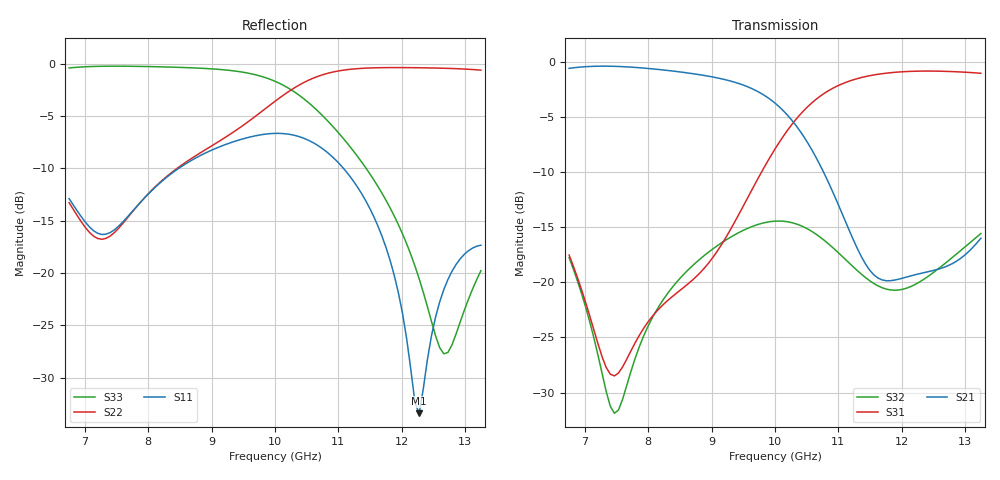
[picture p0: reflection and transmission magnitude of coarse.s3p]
! yapnr rf: diplexer-x8x12, binary design on the optimization grid
! spec sha256 ef2c169852b7fa958bd1cfd29e224f501703003c4a9cb40ad4b62f1f70cdd8ac
! renormalized to 50 ohm, e^(+jwt) convention
# GHz S RI R 50
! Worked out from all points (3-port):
!   101 points, 6.75 GHz to 13.25 GHz, reference 50 ohm
!   strongest paths, dB at 6.75 GHz, 8.375 GHz, 10 GHz, 11.62 GHz, 13.25 GHz:
!     S21: -0.6, -0.8, -3.7, -19.6, -16.0
!     S31: -17.5, -21.3, -7.9, -1.1, -1.0
!     S32: -17.8, -20.5, -14.4, -20.3, -15.6
!   lowest |S11| = -33.4 dB at 12.28 GHz (marker M1), VSWR 1.04, Z = 48.4 - j1.39 ohm
!   |S11| at or under -10 dB: start of sweep to 8.48 GHz; 11.08 GHz to end of sweep
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6.75  0.2101 -0.0855  -0.3857 0.8517  0.1181 0.0641
      -0.3859 0.8535  0.0449 0.2122  -0.0379 -0.1178
      0.12 0.0575  -0.0366 -0.1242  0.7895 -0.5354
7.465  0.161 -0.00175  0.247 0.9234  0.0194 0.042
       0.2494 0.9235  0.1342 -0.0798  -0.0143 0.0237
       0.0146 0.0347  -0.0156 0.0201  0.3713 -0.8991
8.57  0.2791 -0.1754  0.8665 0.2401  -0.0127 0.0913
      0.8651 0.2359  -0.1494 -0.2998  0.0982 -0.0399
      -0.0232 0.0926  0.1001 -0.0446  -0.3314 -0.899
9.415  -0.0715 -0.4245  0.6671 -0.4547  -0.0507 0.18
       0.6613 -0.4532  -0.3954 -0.2855  0.00808 -0.1567
       -0.0595 0.1911  0.00408 -0.1674  -0.7333 -0.5523
10  -0.4442 -0.1362  0.1769 -0.6333  0.0336 0.3827
    0.1768 -0.6269  -0.63 -0.2003  -0.134 -0.1136
    0.0345 0.4016  -0.1475 -0.1192  -0.8087 -0.1576
10.65  -0.1918 0.3641  -0.1737 -0.3261  0.4943 0.4325
       -0.1681 -0.3275  -0.8497 0.1539  -0.1343 0.0713
       0.5139 0.4425  -0.1443 0.0808  -0.5741 0.1885
11.235  0.1723 0.2154  -0.1007 -0.1119  0.8142 -0.0122
        -0.1032 -0.1177  -0.7621 0.5552  0.01 0.1071
        0.8305 -0.0223  0.0139 0.1168  -0.3005 0.2386
12.275  -0.0159 -0.0144  -0.00682 -0.1159  0.3407 -0.8426
        -0.0125 -0.1087  -0.2602 0.9198  0.0573 -0.0686
        0.3327 -0.8467  0.0643 -0.0768  -0.0612 0.0715
12.665  -0.0482 0.0682  -0.00364 -0.1268  -0.0239 -0.912
        -0.00503 -0.1169  -0.0431 0.9497  -0.00429 -0.1089
        -0.0296 -0.9076  -0.00277 -0.1207  -0.0412 -0.000764
13.25  0.0437 0.1287  0.005 -0.1686  -0.5324 -0.724
       0.0102 -0.1583  0.2841 0.8867  -0.1263 -0.0897
       -0.5268 -0.7167  -0.1334 -0.1  -0.043 -0.0932
